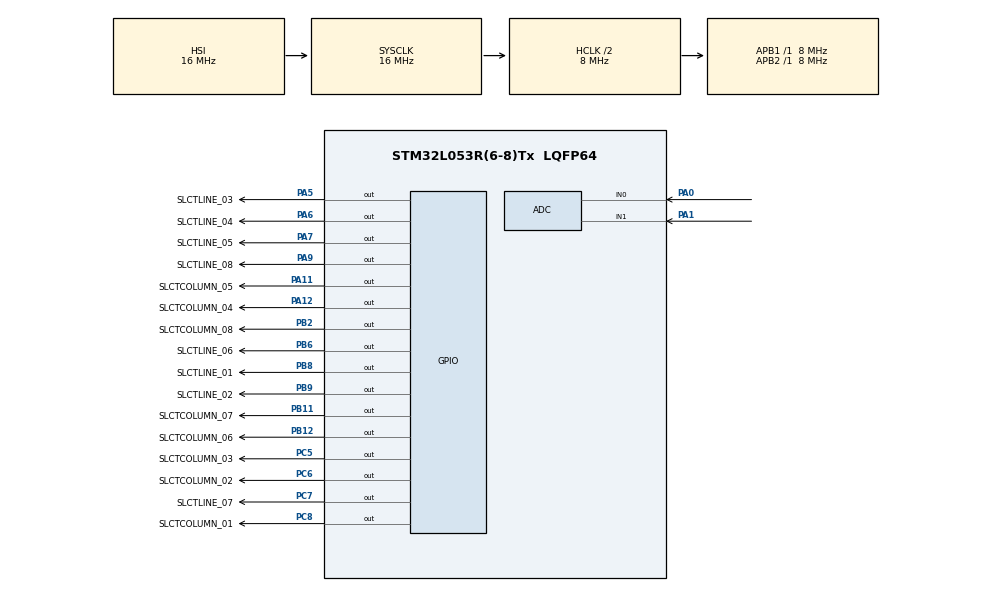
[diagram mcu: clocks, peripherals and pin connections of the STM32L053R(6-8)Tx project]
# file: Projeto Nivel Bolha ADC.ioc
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ADC.ContinuousConvMode=ENABLE
ADC.SamplingTime=ADC_SAMPLETIME_160CYCLES_5
Mcu.Family=STM32L0
Mcu.Name=STM32L053R(6-8)Tx
Mcu.Package=LQFP64
NVIC.ADC1_COMP_IRQn=true\:0\:0\:false\:false\:true\:true\:true\:true
PA0.Mode=IN0
PA0.Signal=ADC_IN0
PA1.Mode=IN1
PA1.Signal=ADC_IN1
PA11.GPIO_Label=SLCTCOLUMN_05
PA11.Signal=GPIO_Output
PA12.GPIO_Label=SLCTCOLUMN_04
PA12.Signal=GPIO_Output
PA5.GPIO_Label=SLCTLINE_03
PA5.Signal=GPIO_Output
PA6.GPIO_Label=SLCTLINE_04
PA6.Signal=GPIO_Output
PA7.GPIO_Label=SLCTLINE_05
PA7.Signal=GPIO_Output
PA9.GPIO_Label=SLCTLINE_08
PA9.Signal=GPIO_Output
PB11.GPIO_Label=SLCTCOLUMN_07
PB11.Signal=GPIO_Output
PB12.GPIO_Label=SLCTCOLUMN_06
PB12.Signal=GPIO_Output
PB2.GPIO_Label=SLCTCOLUMN_08
PB2.Signal=GPIO_Output
PB6.GPIO_Label=SLCTLINE_06
PB6.Signal=GPIO_Output
PB8.GPIO_Label=SLCTLINE_01
PB8.Signal=GPIO_Output
PB9.GPIO_Label=SLCTLINE_02
PB9.Signal=GPIO_Output
PC5.GPIO_Label=SLCTCOLUMN_03
PC5.Signal=GPIO_Output
PC6.GPIO_Label=SLCTCOLUMN_02
PC6.Signal=GPIO_Output
PC7.GPIO_Label=SLCTLINE_07
PC7.Signal=GPIO_Output
PC8.GPIO_Label=SLCTCOLUMN_01
PC8.Signal=GPIO_Output
ProjectManager.HeapSize=0x200
ProjectManager.StackSize=0x400
ProjectManager.TargetToolchain=STM32CubeIDE
RCC.AHBCLKDivider=RCC_SYSCLK_DIV2
RCC.AHBFreq_Value=8000000
RCC.APB1Freq_Value=8000000
RCC.APB1TimFreq_Value=8000000
RCC.APB2Freq_Value=8000000
RCC.APB2TimFreq_Value=8000000
RCC.HCLKFreq_Value=8000000
RCC.HSE_VALUE=8000000
RCC.HSI16_VALUE=16000000
RCC.HSI48_VALUE=48000000
RCC.HSI_VALUE=16000000
RCC.MSI_VALUE=2097000
RCC.SYSCLKFreq_VALUE=16000000
RCC.SYSCLKSource=RCC_SYSCLKSOURCE_HSI
RCC.VCOOutputFreq_Value=48000000
board=NUCLEO-L053R8

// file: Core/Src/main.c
/* USER CODE BEGIN Header */
/**
  ******************************************************************************
  * @file           : main.c
  * @brief          : Main program body
  ******************************************************************************
  * @attention
  *
  * Copyright (c) 2025 STMicroelectronics.
  * All rights reserved.
  *
  * This software is licensed under terms that can be found in the LICENSE file
  * in the root directory of this software component.
  * If no LICENSE file comes with this software, it is provided AS-IS.
  *
  ******************************************************************************
  */
/* USER CODE END Header */
#include "main.h"

/* USER CODE BEGIN Includes */
#include <stdio.h>
#include <stdlib.h>
/* USER CODE END Includes */

/* USER CODE BEGIN PTD */
typedef struct{
	unsigned P0: 1,
			 P1: 1,
			 P2: 1,
			 P3: 1,
			 P4: 1,
			 P5: 1,
			 P6: 1,
			 P7: 1;
}BIT;
/* USER CODE END PTD */

/* USER CODE BEGIN PD */
#define LINE 1
#define COLUMN 0
/* USER CODE END PD */

ADC_HandleTypeDef hadc;

/* USER CODE BEGIN PV */
BIT PORT;
uint32_t AxisX, AxisY;
uint8_t flag = 1, linerSelect = 4;
char dir[10] = "NONE";
/* USER CODE END PV */

void SystemClock_Config(void);
static void MX_GPIO_Init(void);
static void MX_ADC_Init(void);
/* USER CODE BEGIN PFP */
void readJoystick(void);
void rangeJoystickReader(void);
int valueCarrier(uint8_t value);
void infoManager(uint8_t data, uint8_t select);
/* USER CODE END PFP */

int main(void) {

  /* MCU Configuration--------------------------------------------------------*/

  /* Reset of all peripherals, Initializes the Flash interface and the Systick. */
  HAL_Init();

  /* Configure the system clock */
  SystemClock_Config();

  /* Initialize all configured peripherals */
  MX_GPIO_Init();
  MX_ADC_Init();

  /* Infinite loop */
  /* USER CODE BEGIN WHILE */
  while (1)
  {
	  readJoystick();
    /* USER CODE END WHILE */

  }
}

void SystemClock_Config(void)
{
  RCC_OscInitTypeDef RCC_OscInitStruct = {0};
  RCC_ClkInitTypeDef RCC_ClkInitStruct = {0};

  /** Configure the main internal regulator output voltage
  */
  __HAL_PWR_VOLTAGESCALING_CONFIG(PWR_REGULATOR_VOLTAGE_SCALE1);

  /** Initializes the RCC Oscillators according to the specified parameters
  * in the RCC_OscInitTypeDef structure.
  */
  RCC_OscInitStruct.OscillatorType = RCC_OSCILLATORTYPE_HSI;
  RCC_OscInitStruct.HSIState = RCC_HSI_ON;
  RCC_OscInitStruct.HSICalibrationValue = RCC_HSICALIBRATION_DEFAULT;
  RCC_OscInitStruct.PLL.PLLState = RCC_PLL_NONE;
  if (HAL_RCC_OscConfig(&RCC_OscInitStruct) != HAL_OK)
  {
    Error_Handler();
  }

  /** Initializes the CPU, AHB and APB buses clocks
  */
  RCC_ClkInitStruct.ClockType = RCC_CLOCKTYPE_HCLK|RCC_CLOCKTYPE_SYSCLK
                              |RCC_CLOCKTYPE_PCLK1|RCC_CLOCKTYPE_PCLK2;
  RCC_ClkInitStruct.SYSCLKSource = RCC_SYSCLKSOURCE_HSI;
  RCC_ClkInitStruct.AHBCLKDivider = RCC_SYSCLK_DIV2;
  RCC_ClkInitStruct.APB1CLKDivider = RCC_HCLK_DIV1;
  RCC_ClkInitStruct.APB2CLKDivider = RCC_HCLK_DIV1;

  if (HAL_RCC_ClockConfig(&RCC_ClkInitStruct, FLASH_LATENCY_0) != HAL_OK)
  {
    Error_Handler();
  }
}

static void MX_ADC_Init(void)
{

  ADC_ChannelConfTypeDef sConfig = {0};

  /** Configure the global features of the ADC (Clock, Resolution, Data Alignment and number of conversion)
  */
  hadc.Instance = ADC1;
  hadc.Init.OversamplingMode = DISABLE;
  hadc.Init.ClockPrescaler = ADC_CLOCK_SYNC_PCLK_DIV2;
  hadc.Init.Resolution = ADC_RESOLUTION_12B;
  hadc.Init.SamplingTime = ADC_SAMPLETIME_160CYCLES_5;
  hadc.Init.ScanConvMode = ADC_SCAN_DIRECTION_FORWARD;
  hadc.Init.DataAlign = ADC_DATAALIGN_RIGHT;
  hadc.Init.ContinuousConvMode = ENABLE;
  hadc.Init.DiscontinuousConvMode = DISABLE;
  hadc.Init.ExternalTrigConvEdge = ADC_EXTERNALTRIGCONVEDGE_NONE;
  hadc.Init.ExternalTrigConv = ADC_SOFTWARE_START;
  hadc.Init.DMAContinuousRequests = DISABLE;
  hadc.Init.EOCSelection = ADC_EOC_SINGLE_CONV;
  hadc.Init.Overrun = ADC_OVR_DATA_PRESERVED;
  hadc.Init.LowPowerAutoWait = DISABLE;
  hadc.Init.LowPowerFrequencyMode = DISABLE;
  hadc.Init.LowPowerAutoPowerOff = DISABLE;
  if (HAL_ADC_Init(&hadc) != HAL_OK)
  {
    Error_Handler();
  }

  /** Configure for the selected ADC regular channel to be converted.
  */
  sConfig.Channel = ADC_CHANNEL_0;
  sConfig.Rank = ADC_RANK_CHANNEL_NUMBER;
  if (HAL_ADC_ConfigChannel(&hadc, &sConfig) != HAL_OK)
  {
    Error_Handler();
  }

  /** Configure for the selected ADC regular channel to be converted.
  */
  sConfig.Channel = ADC_CHANNEL_1;
  if (HAL_ADC_ConfigChannel(&hadc, &sConfig) != HAL_OK)
  {
    Error_Handler();
  }

}

static void MX_GPIO_Init(void)
{
  GPIO_InitTypeDef GPIO_InitStruct = {0};

  /* GPIO Ports Clock Enable */
  __HAL_RCC_GPIOA_CLK_ENABLE();
  __HAL_RCC_GPIOC_CLK_ENABLE();
  __HAL_RCC_GPIOB_CLK_ENABLE();

  /*Configure GPIO pin Output Level */
  HAL_GPIO_WritePin(GPIOA, SLCTLINE_03_Pin|SLCTLINE_04_Pin|SLCTLINE_05_Pin|SLCTLINE_08_Pin
                          |SLCTCOLUMN_05_Pin|SLCTCOLUMN_04_Pin, GPIO_PIN_RESET);

  /*Configure GPIO pin Output Level */
  HAL_GPIO_WritePin(GPIOC, SLCTCOLUMN_03_Pin|SLCTCOLUMN_02_Pin|SLCTLINE_07_Pin|SLCTCOLUMN_01_Pin, GPIO_PIN_RESET);

  /*Configure GPIO pin Output Level */
  HAL_GPIO_WritePin(GPIOB, SLCTCOLUMN_08_Pin|SLCTCOLUMN_07_Pin|SLCTCOLUMN_06_Pin|SLCTLINE_06_Pin
                          |SLCTLINE_01_Pin|SLCTLINE_02_Pin, GPIO_PIN_RESET);

  /*Configure GPIO pins : SLCTLINE_03_Pin SLCTLINE_04_Pin SLCTLINE_05_Pin SLCTLINE_08_Pin
                           SLCTCOLUMN_05_Pin SLCTCOLUMN_04_Pin */
  GPIO_InitStruct.Pin = SLCTLINE_03_Pin|SLCTLINE_04_Pin|SLCTLINE_05_Pin|SLCTLINE_08_Pin
                          |SLCTCOLUMN_05_Pin|SLCTCOLUMN_04_Pin;
  GPIO_InitStruct.Mode = GPIO_MODE_OUTPUT_PP;
  GPIO_InitStruct.Pull = GPIO_NOPULL;
  GPIO_InitStruct.Speed = GPIO_SPEED_FREQ_LOW;
  HAL_GPIO_Init(GPIOA, &GPIO_InitStruct);

  /*Configure GPIO pins : SLCTCOLUMN_03_Pin SLCTCOLUMN_02_Pin SLCTLINE_07_Pin SLCTCOLUMN_01_Pin */
  GPIO_InitStruct.Pin = SLCTCOLUMN_03_Pin|SLCTCOLUMN_02_Pin|SLCTLINE_07_Pin|SLCTCOLUMN_01_Pin;
  GPIO_InitStruct.Mode = GPIO_MODE_OUTPUT_PP;
  GPIO_InitStruct.Pull = GPIO_NOPULL;
  GPIO_InitStruct.Speed = GPIO_SPEED_FREQ_LOW;
  HAL_GPIO_Init(GPIOC, &GPIO_InitStruct);

  /*Configure GPIO pins : SLCTCOLUMN_08_Pin SLCTCOLUMN_07_Pin SLCTCOLUMN_06_Pin SLCTLINE_06_Pin
                           SLCTLINE_01_Pin SLCTLINE_02_Pin */
  GPIO_InitStruct.Pin = SLCTCOLUMN_08_Pin|SLCTCOLUMN_07_Pin|SLCTCOLUMN_06_Pin|SLCTLINE_06_Pin
                          |SLCTLINE_01_Pin|SLCTLINE_02_Pin;
  GPIO_InitStruct.Mode = GPIO_MODE_OUTPUT_PP;
  GPIO_InitStruct.Pull = GPIO_NOPULL;
  GPIO_InitStruct.Speed = GPIO_SPEED_FREQ_LOW;
  HAL_GPIO_Init(GPIOB, &GPIO_InitStruct);

}

/* USER CODE BEGIN 4 */

// Data bit managers
void infoManager(uint8_t value, uint8_t select){
	int data = 0;
	if (select == LINE) data = valueCarrier(value);
	else data = value;

	PORT.P0 = (data >> 0) & 1;
	PORT.P1 = (data >> 1) & 1;
	PORT.P2 = (data >> 2) & 1;
	PORT.P3 = (data >> 3) & 1;
	PORT.P4 = (data >> 4) & 1;
	PORT.P5 = (data >> 5) & 1;
	PORT.P6 = (data >> 6) & 1;
	PORT.P7 = (data >> 7) & 1;

	if (select == LINE){
		HAL_GPIO_WritePin(SLCTLINE_01_GPIO_Port, SLCTLINE_01_Pin, PORT.P0);
		HAL_GPIO_WritePin(SLCTLINE_02_GPIO_Port, SLCTLINE_02_Pin, PORT.P1);
		HAL_GPIO_WritePin(SLCTLINE_03_GPIO_Port, SLCTLINE_03_Pin, PORT.P2);
		HAL_GPIO_WritePin(SLCTLINE_04_GPIO_Port, SLCTLINE_04_Pin, PORT.P3);
		HAL_GPIO_WritePin(SLCTLINE_05_GPIO_Port, SLCTLINE_05_Pin, PORT.P4);
		HAL_GPIO_WritePin(SLCTLINE_06_GPIO_Port, SLCTLINE_06_Pin, PORT.P5);
		HAL_GPIO_WritePin(SLCTLINE_07_GPIO_Port, SLCTLINE_07_Pin, PORT.P6);
		HAL_GPIO_WritePin(SLCTLINE_08_GPIO_Port, SLCTLINE_08_Pin, PORT.P7);

	} else if (select == COLUMN){
		HAL_GPIO_WritePin(SLCTCOLUMN_01_GPIO_Port, SLCTCOLUMN_01_Pin, !(PORT.P0));
		HAL_GPIO_WritePin(SLCTCOLUMN_02_GPIO_Port, SLCTCOLUMN_02_Pin, !(PORT.P1));
		HAL_GPIO_WritePin(SLCTCOLUMN_03_GPIO_Port, SLCTCOLUMN_03_Pin, !(PORT.P2));
		HAL_GPIO_WritePin(SLCTCOLUMN_04_GPIO_Port, SLCTCOLUMN_04_Pin, !(PORT.P3));
		HAL_GPIO_WritePin(SLCTCOLUMN_05_GPIO_Port, SLCTCOLUMN_05_Pin, !(PORT.P4));
		HAL_GPIO_WritePin(SLCTCOLUMN_06_GPIO_Port, SLCTCOLUMN_06_Pin, !(PORT.P5));
		HAL_GPIO_WritePin(SLCTCOLUMN_07_GPIO_Port, SLCTCOLUMN_07_Pin, !(PORT.P6));
		HAL_GPIO_WritePin(SLCTCOLUMN_08_GPIO_Port, SLCTCOLUMN_08_Pin, !(PORT.P7));
	}
}
int valueCarrier(uint8_t value){
	switch(value){
		case 1:
			return 0x03;
			break;
		case 2:
			return 0x06;
			break;
		case 3:
			return 0x0C;
			break;
		case 4:
			return 0x18;
			break;
		case 5:
			return 0x30;
			break;
		case 6:
			return 0x60;
			break;
		case 7:
			return 0xC0;
			break;
		case 8:
			return 0x80;
			break;
		default:
			return 0x03;
			break;
	}
}

// Data joystick manager
void readJoystick(void){
	HAL_ADC_Start(&hadc);
	for (int i = 0; i < 2; ++i){
		HAL_ADC_PollForConversion(&hadc, 100);
		if (i == 0) AxisY = HAL_ADC_GetValue(&hadc);
		else AxisX = HAL_ADC_GetValue(&hadc);
	}
	rangeJoystickReader();
	HAL_ADC_Stop(&hadc);
}
void rangeJoystickReader(void){
	// LEFT MOVIMENT
	if (AxisX <= 70) infoManager(0x03, COLUMN);
	else if (AxisX <= 700) infoManager(0x06, COLUMN);
	else if (AxisX <= 2000) infoManager(0x0C, COLUMN);
	// RITGH MOVIMENT
	else if (AxisX >= 2940 && AxisX <= 2950) infoManager(0xC0, COLUMN);
	else if (AxisX >= 3600) infoManager(0x60, COLUMN);
	else if (AxisX >= 4000) infoManager(0x30, COLUMN);
	else infoManager(0x18, COLUMN);

	// UP MOVIMENT
	if (AxisY == 4095) infoManager(1, LINE);
	else if (AxisY == 3500) infoManager(2, LINE);
	else if (AxisY == 2900) infoManager(3, LINE);
	// DOWN MOVIMENT
	else if (AxisY <= 70) infoManager(7, LINE);
	else if (AxisY == 1100) infoManager(5, LINE);
	else if (AxisY == 2500) infoManager(6, LINE);
	else infoManager(4, LINE);

}

/* USER CODE END 4 */

void Error_Handler(void)
{
  __disable_irq();
  while (1)
  {
  }
}
